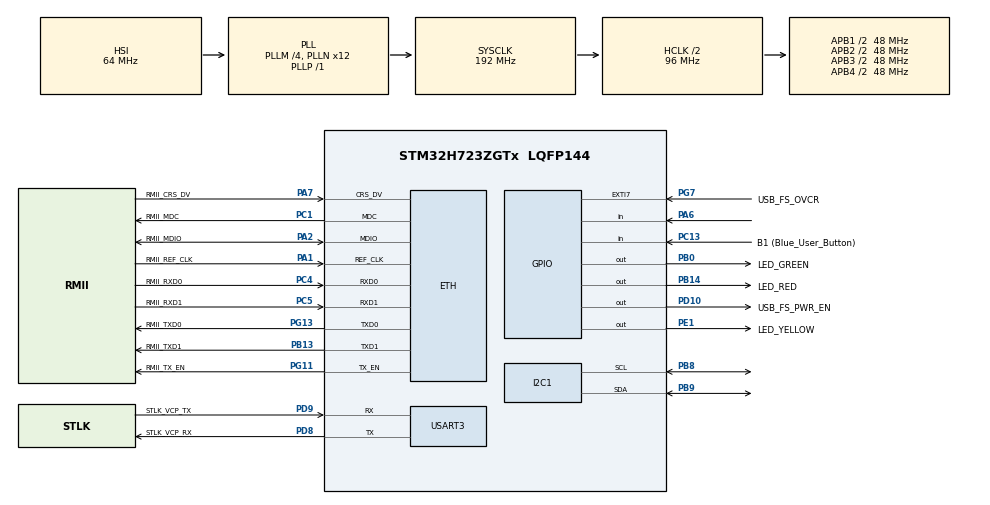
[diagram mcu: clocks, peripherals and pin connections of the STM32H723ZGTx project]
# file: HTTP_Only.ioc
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ETH.MediaInterface=HAL_ETH_RMII_MODE
I2C1.Timing=0x20303E5D
Mcu.Family=STM32H7
Mcu.Name=STM32H723ZGTx
Mcu.Package=LQFP144
NVIC.ETH_IRQn=true\:0\:0\:false\:false\:false\:true\:false\:true
NVIC.PriorityGroup=NVIC_PRIORITYGROUP_4
PA1.GPIO_Label=RMII_REF_CLK
PA1.Mode=RMII
PA1.Signal=ETH_REF_CLK
PA10.GPIO_Label=USB_FS_ID
PA10.Signal=USB_OTG_HS_ID
PA13(JTMS/SWDIO).GPIO_Label=SWDIO
PA13(JTMS/SWDIO).Signal=DEBUG_JTMS-SWDIO
PA14(JTCK/SWCLK).GPIO_Label=SWCLK
PA14(JTCK/SWCLK).Signal=DEBUG_JTCK-SWCLK
PA2.GPIO_Label=RMII_MDIO
PA2.Mode=RMII
PA2.Signal=ETH_MDIO
PA6.Signal=GPIO_Input
PA7.GPIO_Label=RMII_CRS_DV
PA7.Mode=RMII
PA7.Signal=ETH_CRS_DV
PA9.GPIO_Label=USB_FS_VBUS
PA9.Signal=USB_OTG_HS_VBUS
PB0.GPIO_Label=LED_GREEN
PB0.Signal=GPIO_Output
PB13.GPIO_Label=RMII_TXD1
PB13.Mode=RMII
PB13.Signal=ETH_TXD1
PB14.GPIO_Label=LED_RED
PB14.Signal=GPIO_Output
PB3(JTDO/TRACESWO).GPIO_Label=SWO
PB3(JTDO/TRACESWO).Signal=DEBUG_JTDO-SWO
PB8.Mode=I2C
PB8.Signal=I2C1_SCL
PB9.Mode=I2C
PB9.Signal=I2C1_SDA
PC1.GPIO_Label=RMII_MDC
PC1.Mode=RMII
PC1.Signal=ETH_MDC
PC13.GPIO_Label=B1 (Blue_User_Button)
PC13.Signal=GPIO_Input
PC14-OSC32_IN.Signal=RCC_OSC32_IN
PC15-OSC32_OUT.Signal=RCC_OSC32_OUT
PC4.GPIO_Label=RMII_RXD0
PC4.Mode=RMII
PC4.Signal=ETH_RXD0
PC5.GPIO_Label=RMII_RXD1
PC5.Mode=RMII
PC5.Signal=ETH_RXD1
PD10.GPIO_Label=USB_FS_PWR_EN
PD10.Signal=GPIO_Output
PD8.GPIO_Label=STLK_VCP_RX
PD8.Mode=Asynchronous
PD8.Signal=USART3_TX
PD9.GPIO_Label=STLK_VCP_TX
PD9.Mode=Asynchronous
PD9.Signal=USART3_RX
PE1.GPIO_Label=LED_YELLOW
PE1.Signal=GPIO_Output
PG11.GPIO_Label=RMII_TX_EN
PG11.Mode=RMII
PG11.Signal=ETH_TX_EN
PG13.GPIO_Label=RMII_TXD0
PG13.Mode=RMII
PG13.Signal=ETH_TXD0
PG7.GPIO_Label=USB_FS_OVCR
PG7.Signal=GPXTI7
PH0-OSC_IN.GPIO_Label=MCO
PH0-OSC_IN.Signal=RCC_OSC_IN
PH1-OSC_OUT.Signal=RCC_OSC_OUT
ProjectManager.HeapSize=0x200
ProjectManager.StackSize=0x400
ProjectManager.TargetToolchain=STM32CubeIDE
RCC.ADCFreq_Value=608000000
RCC.APB1Freq_Value=48000000
RCC.APB2Freq_Value=48000000
RCC.APB3Freq_Value=48000000
RCC.APB4Freq_Value=48000000
RCC.CortexFreq_Value=192000000
RCC.D1PPRE=RCC_APB3_DIV2
RCC.D2PPRE1=RCC_APB1_DIV2
RCC.D2PPRE2=RCC_APB2_DIV2
RCC.D3PPRE=RCC_APB4_DIV2
RCC.DIVM1=4
RCC.DIVM2=1
RCC.DIVN1=12
RCC.DIVN2=19
RCC.DIVP1=1
RCC.DIVQ1=4
RCC.HCLKFreq_Value=96000000
RCC.HPRE=RCC_HCLK_DIV2
RCC.HSE_VALUE=8000000
RCC.PLLFRACN=0
RCC.SYSCLKFreq_VALUE=192000000
RCC.SYSCLKSource=RCC_SYSCLKSOURCE_PLLCLK
RCC.USBCLockSelection=RCC_USBCLKSOURCE_HSI48
RCC.USBFreq_Value=48000000
USART3.VirtualMode-Asynchronous=VM_ASYNC
VP_MEMORYMAP_VS_MEMORYMAP.Mode=CurAppReg
VP_RNG_VS_RNG.Mode=RNG_Activate
board=NUCLEO-H723ZG

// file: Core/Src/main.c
/* USER CODE BEGIN Header */
/**
  ******************************************************************************
  * @file           : main.c
  * @brief          : Main program body
  ******************************************************************************
  * @attention
  *
  * Copyright (c) 2024 STMicroelectronics.
  * All rights reserved.
  *
  * This software is licensed under terms that can be found in the LICENSE file
  * in the root directory of this software component.
  * If no LICENSE file comes with this software, it is provided AS-IS.
  *
  ******************************************************************************
  */
/* USER CODE END Header */
#include "main.h"
#include "string.h"

/* USER CODE BEGIN Includes */
#include "mongoose_glue.h"
#include "mongoose.h"
#include "frozen.h"
#include "jsmn.h"
#include <stdlib.h>
#include <stdio.h>
/* USER CODE END Includes */

/* USER CODE BEGIN PTD */

typedef struct {
    uint16_t status_bits[4];     // UINT[0], UINT[1], UINT[2], UINT[3] - 64 bits
    uint16_t data_words[106];
} PLC_Snapshot;

/* USER CODE END PTD */

/* USER CODE BEGIN PD */
#define API_URL "http://192.168.1.133:8080/api/stats?start=-1h&stop=now()"
#define MAX_RESPONSE_SIZE 100000
#define MAX_EXTRACTED_NUMBERS 256
#define MAX_PAYLOAD_SIZE 512
#define MAX_NDEF_SIZE 8000
#define MAX_NUMBERS 56
#define MAX_VALUES 1024
#define OUTPUT_BUF_SIZE 6000

typedef struct {
  char start_time[32];
  int interval_sec;
  float values[MAX_VALUES];
  int count;
} ParsedData;

typedef struct {
  char *buffer;         // Will point to g_json_response_buffer
  size_t buffer_size;   // Will be MAX_JSON_SIZE
  size_t current_len;   // How much data we've copied so far
  bool transfer_complete; // Flag to signal the main loop
  bool error_occurred;    // Flag for errors
} http_transfer_state_t;

/* USER CODE END PD */

#if defined ( __ICCARM__ ) /*!< IAR Compiler */
#pragma location=0x30000000
ETH_DMADescTypeDef  DMARxDscrTab[ETH_RX_DESC_CNT]; /* Ethernet Rx DMA Descriptors */
#pragma location=0x30000080
ETH_DMADescTypeDef  DMATxDscrTab[ETH_TX_DESC_CNT]; /* Ethernet Tx DMA Descriptors */

#elif defined ( __CC_ARM )  /* MDK ARM Compiler */

__attribute__((at(0x30000000))) ETH_DMADescTypeDef  DMARxDscrTab[ETH_RX_DESC_CNT]; /* Ethernet Rx DMA Descriptors */
__attribute__((at(0x30000080))) ETH_DMADescTypeDef  DMATxDscrTab[ETH_TX_DESC_CNT]; /* Ethernet Tx DMA Descriptors */

#elif defined ( __GNUC__ ) /* GNU Compiler */

ETH_DMADescTypeDef DMARxDscrTab[ETH_RX_DESC_CNT] __attribute__((section(".RxDescripSection"))); /* Ethernet Rx DMA Descriptors */
ETH_DMADescTypeDef DMATxDscrTab[ETH_TX_DESC_CNT] __attribute__((section(".TxDescripSection")));   /* Ethernet Tx DMA Descriptors */
#endif

ETH_TxPacketConfig TxConfig;

ETH_HandleTypeDef heth;

I2C_HandleTypeDef hi2c1;

RNG_HandleTypeDef hrng;

UART_HandleTypeDef huart3;

/* USER CODE BEGIN PV */
static char response_buf[MAX_RESPONSE_SIZE];
static size_t response_len = 0;
static bool request_done = false;
float extracted_numbers[MAX_EXTRACTED_NUMBERS];
int number_count = 0;

#define numbercount 0

/* USER CODE END PV */

void SystemClock_Config(void);
static void MX_GPIO_Init(void);
static void MX_ETH_Init(void);
static void MX_RNG_Init(void);
static void MX_USART3_UART_Init(void);
static void MX_I2C1_Init(void);

/* USER CODE BEGIN 0 */
bool mg_random(void *buf, size_t len) {  // Use on-board RNG
  for (size_t n = 0; n < len; n += sizeof(uint32_t)) {
    uint32_t r;
    HAL_RNG_GenerateRandomNumber(&hrng, &r);
    memcpy((char *) buf + n, &r, n + sizeof(r) > len ? len - n : sizeof(r));
  }
  return true; // TODO(): ensure successful RNG init, then return on false above
}

uint64_t mg_millis(void) {
  return HAL_GetTick();
}

int _write(int fd, unsigned char *buf, int len) {
  if (fd == 1 || fd == 2) {                     // stdout or stderr ?
    HAL_UART_Transmit(&huart3, buf, len, 999);  // Print to the UART
  }
  return len;
}

static void http_event_handler(struct mg_connection *c, int ev, void *ev_data, void *fn_data) {
  if (ev == MG_EV_HTTP_MSG) {
    struct mg_http_message *hm = (struct mg_http_message *) ev_data;

    // Fix: use pointer for header
    const struct mg_str *cl_hdr = mg_http_get_header(hm, "Content-Length");
    size_t expected_len = 0;
    if (cl_hdr != NULL && cl_hdr->len > 0) {
      expected_len = (size_t) atoi(cl_hdr->buf);
    }

    printf("Received body length: %d\r\n", (int) hm->body.len);
    if (expected_len > 0 && hm->body.len < expected_len) {
      // Incomplete body, wait for more
      return;
    }

    size_t copy_len = hm->body.len < MAX_RESPONSE_SIZE - 1 ? hm->body.len : MAX_RESPONSE_SIZE - 1;
    memcpy(response_buf, hm->body.buf, copy_len);
    response_buf[copy_len] = '\0';
    response_len = copy_len;

    printf("HTTP Response: %.*s\r\n", (int) response_len, response_buf);

    request_done = true;
  }
  else if (ev == MG_EV_CLOSE && !request_done) {
    printf("HTTP request failed or connection closed early\r\n");
  }
}

void perform_http_data_read(void) {
  request_done = false;

  struct mg_connection *c = mg_http_connect(&g_mgr, API_URL, http_event_handler, NULL);
  if (c == NULL) {
    printf("HTTP connect failed\r\n");
    return;
  }

  mg_printf(c, "GET %s HTTP/1.0\r\nHost: 192.168.1.133\r\n\r\n", "/api/stats?start=-1h&stop=now()");

  uint32_t start = HAL_GetTick();
  while (!request_done && HAL_GetTick() - start < 7000) {
    mg_mgr_poll(&g_mgr, 10);  // Poll with more responsiveness
    HAL_Delay(1);
  }

  if (!request_done) {
    printf("Request timed out or incomplete\r\n");
  }
}

void wait_for_network_ready(void) {
  uint32_t start = HAL_GetTick();
  while (HAL_GetTick() - start < 2000) {
    mongoose_poll();
    HAL_Delay(1);
  }

  // Force ARP resolution with a dummy connection
  struct mg_connection *warmup = mg_connect(&g_mgr, "tcp://192.168.1.133:80", NULL, NULL);
  if (warmup != NULL) {
    mg_mgr_poll(&g_mgr, 100);
    warmup->is_closing = 1;
  }
}

double mg_str_to_d(struct mg_str s) {
    char buf[64];
    size_t n = s.len < sizeof(buf) - 1 ? s.len : sizeof(buf) - 1;
    memcpy(buf, s.buf, n);
    buf[n] = '\0';
    return atof(buf);  // Or strtod(buf, NULL) for more control
}

void write_json_to_nfc(const char *json_data, size_t json_len) {
    uint16_t i2c_addr = 0x53 << 1;   // ST25DV I2C address
    uint16_t mem_addr = 0x0008;      // NDEF start offset
    HAL_StatusTypeDef status;

    if (json_len > 8000) {
        printf("Error: JSON too large for NFC memory (%lu bytes)\n", (unsigned long)json_len);
        return;
    }

    const char* mime_type = "application/json";
    uint8_t type_length = strlen(mime_type);
    uint8_t ndef_header_size = 1 + 1 + 4;

    uint32_t payload_length = json_len;
    uint32_t ndef_record_length = ndef_header_size + type_length + payload_length;

    uint8_t ndef_buffer[MAX_NDEF_SIZE];
    uint16_t total_ndef_message_size = 0;

    // TLV block
    ndef_buffer[total_ndef_message_size++] = 0x03;  // TLV type
    if (ndef_record_length < 0xFF) {
        ndef_buffer[total_ndef_message_size++] = (uint8_t)ndef_record_length;
    } else {
        ndef_buffer[total_ndef_message_size++] = 0xFF;
        ndef_buffer[total_ndef_message_size++] = (ndef_record_length >> 8) & 0xFF;
        ndef_buffer[total_ndef_message_size++] = ndef_record_length & 0xFF;
    }

    // NDEF Record header
    ndef_buffer[total_ndef_message_size++] = 0xC2;  // MIME type record
    ndef_buffer[total_ndef_message_size++] = type_length;
    ndef_buffer[total_ndef_message_size++] = (payload_length >> 24) & 0xFF;
    ndef_buffer[total_ndef_message_size++] = (payload_length >> 16) & 0xFF;
    ndef_buffer[total_ndef_message_size++] = (payload_length >> 8) & 0xFF;
    ndef_buffer[total_ndef_message_size++] = payload_length & 0xFF;

    memcpy(&ndef_buffer[total_ndef_message_size], mime_type, type_length);
    total_ndef_message_size += type_length;

    memcpy(&ndef_buffer[total_ndef_message_size], json_data, payload_length);
    total_ndef_message_size += payload_length;

    ndef_buffer[total_ndef_message_size++] = 0xFE;  // Terminator TLV

    printf("JSON length: %lu\n", (unsigned long)json_len);
    printf("Total NDEF size: %u bytes\n", total_ndef_message_size);

    // I2C chunked write to NFC
    const uint16_t MAX_CHUNK_SIZE = 64;
    uint16_t bytes_remaining = total_ndef_message_size;
    uint16_t offset = 0;

    while (bytes_remaining > 0) {
        uint16_t chunk_size = (bytes_remaining > MAX_CHUNK_SIZE) ? MAX_CHUNK_SIZE : bytes_remaining;

        status = HAL_I2C_Mem_Write(&hi2c1, i2c_addr, mem_addr + offset,
                                   I2C_MEMADD_SIZE_16BIT,
                                   &ndef_buffer[offset], chunk_size,
                                   HAL_MAX_DELAY);

        if (status != HAL_OK) {
            printf("I2C chunk write failed at offset %d, status: %d\r\n", offset, status);
            return;
        }

        HAL_Delay(100);  // Wait for memory to settle
        offset += chunk_size;
        bytes_remaining -= chunk_size;
    }

    printf("I2C chunked write successful.\r\n");
}

bool parse_float_request_fields(const char *json_data, size_t len,
                                struct mg_str *out_field,
                                struct mg_str *out_start,
                                struct mg_str *out_stop) {
    struct mg_str json = mg_str_n(json_data, len);
    struct mg_str key, val;
    size_t offset = 0;

    *out_field = mg_str_n(NULL, 0);
    *out_start = mg_str_n(NULL, 0);
    *out_stop  = mg_str_n(NULL, 0);

    printf("🧪 Parsing JSON: %.*s\r\n", (int) json.len, json.buf);
    // Check if JSON is double-encoded (starts with quote)
    if (json_data[0] == '"' && json_data[len - 1] == '"') {
        printf("⚠️  JSON appears to be string-encoded, unescaping...\r\n");

        static char unescaped[1024];
        size_t j = 0;

        for (size_t i = 1; i < len - 1 && j < sizeof(unescaped) - 1; i++) {
            if (json_data[i] == '\\' && i + 1 < len - 1) {
                i++;  // Skip backslash
            }
            unescaped[j++] = json_data[i];
        }

        unescaped[j] = '\0';
        json_data = unescaped;
        len = strlen(unescaped);

        printf("🔓 Unescaped JSON: %s\n\r", json_data);
    }

    while ((offset = mg_json_next(json, offset, &key, &val)) > 0) {
    	printf("🔍 Found Key: %.*s | Value: %.*s\n", (int)key.len, key.buf, (int)val.len, val.buf);

    	if (mg_match(key, mg_str("\"field\""), NULL)) {
    	    *out_field = val;
    	    printf("✅ Matched 'field': %.*s\r\n", (int) val.len, val.buf);
    	} else if (mg_match(key, mg_str("\"start\""), NULL)) {
    	    *out_start = val;
    	    printf("✅ Matched 'start': %.*s\r\n", (int) val.len, val.buf);
    	} else if (mg_match(key, mg_str("\"stop\""), NULL)) {
    	    *out_stop = val;
    	    printf("✅ Matched 'stop': %.*s\r\n", (int) val.len, val.buf);
    	} else {
    	    // This will now correctly show "cmd" as the non-match
    	    printf("❌ No match for key: %.*s\r\n", (int) key.len, key.buf);
    	}
    }

    // Final report
    printf("📦 Parsed values:\r\n");
    printf("   field: %.*s\r\n", (int) out_field->len, out_field->buf);
    printf("   start: %.*s\r\n", (int) out_start->len, out_start->buf);
    printf("   stop : %.*s\r\n", (int) out_stop->len, out_stop->buf);

    if (out_field->len > 0 && out_start->len > 0 && out_stop->len > 0) {
        printf("✅ All required fields extracted.\r\n");
        return true;
    } else {
        printf("❌ Missing one or more required fields.\r\n");
        return false;
    }
}

void copy_and_strip_quotes(struct mg_str src, char *dest, size_t dest_size) {
    size_t j = 0;
    for (size_t i = 0; i < src.len && j < dest_size - 1; i++) {
        if (src.buf[i] != '"') {
            dest[j++] = src.buf[i];
        }
    }
    dest[j] = '\0';
}

void read_phone_request_json(void) {
    uint16_t i2c_addr = 0x53 << 1;
    uint16_t mem_addr = 0x0008;
    uint8_t buf[256];

    // Read first 256 bytes of EEPROM
    if (HAL_I2C_Mem_Read(&hi2c1, i2c_addr, mem_addr, I2C_MEMADD_SIZE_16BIT, buf, sizeof(buf), HAL_MAX_DELAY) != HAL_OK) {
        printf("I2C read failed\n");
        return;
    }

    uint16_t i = 0;

    if (buf[i++] != 0x03) {
        printf("Not an NDEF TLV.\n");
        return;
    }

    uint8_t tlv_length = buf[i++];  // assuming < 255 bytes

    // NDEF record header
    if (buf[i++] != 0xD1) {
        printf("Not a text record from phone.\n");
        return;
    }

    uint8_t type_len = buf[i++];
    uint8_t payload_len = buf[i++];

    // skip type string ("T")
    i += type_len;

    // first byte of payload is encoding/language code (usually 0x02)
    i++;

    // JSON string starts here
    char json[240];
    memcpy(json, &buf[i], payload_len - 1);
    json[payload_len - 1] = '\0';

    printf("📥 Received JSON from phone: %s\n", json);

    char *json_data = strchr(json, '{');  // Find the first '{' character
    if (!json_data) {
        printf("❌ No JSON object found in payload\n");
        return;
    }

    // Step 2: Declare output variables
    struct mg_str field, start, stop;

    printf("Raw JSON: %s\n", json_data);

    // Step 3: Parse for cmd/field/start/stop
    if (parse_float_request_fields(json_data, strlen(json_data), &field, &start, &stop)) {
        // Step 4: Use them to build the HTTP URL
        char url[256];
        snprintf(url, sizeof(url),
                 "http://192.168.1.133:8080/api/float-range?field=%.*s&start=%.*s&stop=%.*s",
                 (int) field.len, field.buf,
                 (int) start.len, start.buf,
                 (int) stop.len,  stop.buf);

        printf("🌐 Generated HTTP URL:\n%s\n", url);

        char field_buf[128], start_buf[64], stop_buf[64];

        copy_and_strip_quotes(field, field_buf, sizeof(field_buf));
        copy_and_strip_quotes(start, start_buf, sizeof(start_buf));
        copy_and_strip_quotes(stop,  stop_buf,  sizeof(stop_buf));

        printf("✅ Clean URL:\n");
        printf("http://192.168.1.133:8080/api/float-range?field=%s&start=%s&stop=%s\n",
               field_buf, start_buf, stop_buf);

        char full_path[256];
        snprintf(full_path, sizeof(full_path),
                 "/api/float-range?field=%s&start=%s&stop=%s",
                 field_buf, start_buf, stop_buf);

        // Optional debug print
        printf("✅ Clean path: %s\n", full_path);
        wait_for_network_ready();
        perform_http_get(full_path);
    	HAL_Delay(1000);

        // Optionally perform the HTTP request here...
        // perform_http_get(url);
    } else {
        printf("❌ Failed to extract field/start/stop from JSON\n");
    }
}

void perform_http_get(const char *path) {
  request_done = false;

  printf("🌐 Starting HTTP GET for path: %s\r\n", path);

  // Connect to server
  struct mg_connection *c = mg_http_connect(&g_mgr, "http://192.168.1.133:8080", http_event_handler, NULL);
  if (c == NULL) {
    printf("❌ HTTP connect failed\r\n");
    return;
  }

  // Send custom GET request
  mg_printf(c,
    "GET %s HTTP/1.1\r\n"
    "Host: 192.168.1.133\r\n"
    "Connection: keep-alive\r\n\r\n",
    path);

  // Poll until request completes or times out
  uint32_t start = HAL_GetTick();
  while (!request_done && HAL_GetTick() - start < 5000) {
    mg_mgr_poll(&g_mgr, 1);
    HAL_Delay(1);
  }

  if (!request_done) {
    printf("❌ HTTP request timed out\r\n");
    return;
  }
  ParsedData parsed;
  char compact_json[OUTPUT_BUF_SIZE];

  if (parse_response_json(response_buf, &parsed)) {
    make_compact_json(&parsed, compact_json, sizeof(compact_json));
    printf("Compact JSON:\n%s\r\n", compact_json);
  } else {
    printf("Failed to parse JSON!\r\n");
  }

  // ✅ HTTP response is now in `response_buf`, call your NFC writer
  write_json_to_nfc(compact_json, strlen(compact_json));
}

int parse_response_json(const char *json, ParsedData *out) {
  const char *ptr = json;
  int i = 0;
  char prev_time_str[32] = {0};
  int found_first = 0;
  out->interval_sec = 0;
  out->count = 0;
  float last_value = 0.0;
  time_t expected_time = 0;

  while ((ptr = strstr(ptr, "{\"time\":\"")) && i < MAX_VALUES) {
    ptr += 9;  // Move past "{\"time\":\""
    const char *time_end = strchr(ptr, '"');
    if (!time_end) break;

    int len = time_end - ptr;
    if (len >= sizeof(out->start_time)) len = sizeof(out->start_time) - 1;

    char current_time_str[32];
    strncpy(current_time_str, ptr, len);
    current_time_str[len] = '\0';

    // Parse timestamp into struct tm
    char trimmed[32];
    strncpy(trimmed, current_time_str, sizeof(trimmed));
    size_t len_trimmed = strlen(trimmed);
    if (trimmed[len_trimmed - 1] == 'Z') trimmed[len_trimmed - 1] = '\0';

    struct tm tm = {0};
    strptime(trimmed, "%Y-%m-%dT%H:%M:%S", &tm);
    time_t current_time = mktime(&tm);

    // Get value
    const char *val_ptr = strstr(time_end, "\"value\":");
    if (!val_ptr) break;
    float v = atof(val_ptr + 8);

    if (!found_first) {
      strcpy(out->start_time, current_time_str);
      expected_time = current_time;
      found_first = 1;
      last_value = v;
      out->values[i++] = v;
    } else {
      if (out->interval_sec == 0) {
        // Compute interval from previous and current timestamps
        char prev_trimmed[32];
        strncpy(prev_trimmed, prev_time_str, sizeof(prev_trimmed));
        size_t len_prev = strlen(prev_trimmed);
        if (prev_trimmed[len_prev - 1] == 'Z') prev_trimmed[len_prev - 1] = '\0';

        struct tm tm_prev = {0};
        strptime(prev_trimmed, "%Y-%m-%dT%H:%M:%S", &tm_prev);
        time_t prev_time = mktime(&tm_prev);
        out->interval_sec = (int)difftime(current_time, prev_time);
        expected_time = prev_time + out->interval_sec;
      }

      // Fill in missing values using last_value
      while (expected_time < current_time && i < MAX_VALUES) {
        out->values[i++] = last_value;
        expected_time += out->interval_sec;
      }

      // Insert current value
      out->values[i++] = v;
      last_value = v;
      expected_time += out->interval_sec;
    }

    strcpy(prev_time_str, current_time_str);
  }

  out->count = i;
  return (i > 0) ? 1 : 0;
}

// Creates compact JSON output
void make_compact_json(const ParsedData *data, char *out_buf, size_t out_buf_size) {
  int offset = snprintf(out_buf, out_buf_size,
    "{\n  \"start\": \"%s\",\n  \"interval\": %d,\n  \"values\": [",
    data->start_time, data->interval_sec);

  for (int i = 0; i < data->count; i++) {
    offset += snprintf(out_buf + offset, out_buf_size - offset,
      (i < data->count - 1) ? "%.2f," : "%.2f", data->values[i]);
  }

  snprintf(out_buf + offset, out_buf_size - offset, "]\n}\n");
  printf("Number of values: %d\n", data->count);
}

/* USER CODE END 0 */

int main(void)
{

  /* MCU Configuration--------------------------------------------------------*/

  /* Reset of all peripherals, Initializes the Flash interface and the Systick. */
  HAL_Init();

  /* Configure the system clock */
  SystemClock_Config();

  /* Initialize all configured peripherals */
  MX_GPIO_Init();
  MX_ETH_Init();
  MX_RNG_Init();
  MX_USART3_UART_Init();
  MX_I2C1_Init();
  /* USER CODE BEGIN 2 */
  mongoose_init();
  for (;;) {
    mongoose_poll();

    if(!HAL_GPIO_ReadPin(GPIOA, GPIO_PIN_6)){
    	HAL_GPIO_WritePin(GPIOB, GPIO_PIN_0, GPIO_PIN_SET);
    	HAL_Delay(5000);
    	read_phone_request_json();
    } else{
    	HAL_GPIO_WritePin(GPIOB, GPIO_PIN_0, GPIO_PIN_RESET);
    }

    if(HAL_GPIO_ReadPin(GPIOC, GPIO_PIN_13)){
    	HAL_GPIO_WritePin(GPIOB, GPIO_PIN_14, GPIO_PIN_SET);
    	HAL_Delay(500);
    	glue_update_state();
        wait_for_network_ready();
    	perform_http_data_read();
    	HAL_Delay(1000);
    	write_json_to_nfc(response_buf, response_len);
    } else{
    	HAL_GPIO_WritePin(GPIOB, GPIO_PIN_14, GPIO_PIN_RESET);
    }
  }

  /* USER CODE END 2 */

  /* Infinite loop */
  while (1)
  {

  }
}

void SystemClock_Config(void)
{
  RCC_OscInitTypeDef RCC_OscInitStruct = {0};
  RCC_ClkInitTypeDef RCC_ClkInitStruct = {0};

  /** Supply configuration update enable
  */
  HAL_PWREx_ConfigSupply(PWR_LDO_SUPPLY);

  /** Configure the main internal regulator output voltage
  */
  __HAL_PWR_VOLTAGESCALING_CONFIG(PWR_REGULATOR_VOLTAGE_SCALE2);

  while(!__HAL_PWR_GET_FLAG(PWR_FLAG_VOSRDY)) {}

  /** Initializes the RCC Oscillators according to the specified parameters
  * in the RCC_OscInitTypeDef structure.
  */
  RCC_OscInitStruct.OscillatorType = RCC_OSCILLATORTYPE_HSI48|RCC_OSCILLATORTYPE_HSI;
  RCC_OscInitStruct.HSIState = RCC_HSI_DIV1;
  RCC_OscInitStruct.HSICalibrationValue = 64;
  RCC_OscInitStruct.HSI48State = RCC_HSI48_ON;
  RCC_OscInitStruct.PLL.PLLState = RCC_PLL_ON;
  RCC_OscInitStruct.PLL.PLLSource = RCC_PLLSOURCE_HSI;
  RCC_OscInitStruct.PLL.PLLM = 4;
  RCC_OscInitStruct.PLL.PLLN = 12;
  RCC_OscInitStruct.PLL.PLLP = 1;
  RCC_OscInitStruct.PLL.PLLQ = 4;
  RCC_OscInitStruct.PLL.PLLR = 2;
  RCC_OscInitStruct.PLL.PLLRGE = RCC_PLL1VCIRANGE_3;
  RCC_OscInitStruct.PLL.PLLVCOSEL = RCC_PLL1VCOWIDE;
  RCC_OscInitStruct.PLL.PLLFRACN = 0;
  if (HAL_RCC_OscConfig(&RCC_OscInitStruct) != HAL_OK)
  {
    Error_Handler();
  }

  /** Initializes the CPU, AHB and APB buses clocks
  */
  RCC_ClkInitStruct.ClockType = RCC_CLOCKTYPE_HCLK|RCC_CLOCKTYPE_SYSCLK
                              |RCC_CLOCKTYPE_PCLK1|RCC_CLOCKTYPE_PCLK2
                              |RCC_CLOCKTYPE_D3PCLK1|RCC_CLOCKTYPE_D1PCLK1;
  RCC_ClkInitStruct.SYSCLKSource = RCC_SYSCLKSOURCE_PLLCLK;
  RCC_ClkInitStruct.SYSCLKDivider = RCC_SYSCLK_DIV1;
  RCC_ClkInitStruct.AHBCLKDivider = RCC_HCLK_DIV2;
  RCC_ClkInitStruct.APB3CLKDivider = RCC_APB3_DIV2;
  RCC_ClkInitStruct.APB1CLKDivider = RCC_APB1_DIV2;
  RCC_ClkInitStruct.APB2CLKDivider = RCC_APB2_DIV2;
  RCC_ClkInitStruct.APB4CLKDivider = RCC_APB4_DIV2;

  if (HAL_RCC_ClockConfig(&RCC_ClkInitStruct, FLASH_LATENCY_1) != HAL_OK)
  {
    Error_Handler();
  }
}

static void MX_ETH_Init(void)
{

   static uint8_t MACAddr[6];

  heth.Instance = ETH;
  MACAddr[0] = 0x00;
  MACAddr[1] = 0x80;
  MACAddr[2] = 0xE1;
  MACAddr[3] = 0x00;
  MACAddr[4] = 0x00;
  MACAddr[5] = 0x00;
  heth.Init.MACAddr = &MACAddr[0];
  heth.Init.MediaInterface = HAL_ETH_RMII_MODE;
  heth.Init.TxDesc = DMATxDscrTab;
  heth.Init.RxDesc = DMARxDscrTab;
  heth.Init.RxBuffLen = 1536;

  if (HAL_ETH_Init(&heth) != HAL_OK)
  {
    Error_Handler();
  }

  memset(&TxConfig, 0 , sizeof(ETH_TxPacketConfig));
  TxConfig.Attributes = ETH_TX_PACKETS_FEATURES_CSUM | ETH_TX_PACKETS_FEATURES_CRCPAD;
  TxConfig.ChecksumCtrl = ETH_CHECKSUM_IPHDR_PAYLOAD_INSERT_PHDR_CALC;
  TxConfig.CRCPadCtrl = ETH_CRC_PAD_INSERT;

}

static void MX_I2C1_Init(void)
{

  hi2c1.Instance = I2C1;
  hi2c1.Init.Timing = 0x20303E5D;
  hi2c1.Init.OwnAddress1 = 0;
  hi2c1.Init.AddressingMode = I2C_ADDRESSINGMODE_7BIT;
  hi2c1.Init.DualAddressMode = I2C_DUALADDRESS_DISABLE;
  hi2c1.Init.OwnAddress2 = 0;
  hi2c1.Init.OwnAddress2Masks = I2C_OA2_NOMASK;
  hi2c1.Init.GeneralCallMode = I2C_GENERALCALL_DISABLE;
  hi2c1.Init.NoStretchMode = I2C_NOSTRETCH_DISABLE;
  if (HAL_I2C_Init(&hi2c1) != HAL_OK)
  {
    Error_Handler();
  }

  /** Configure Analogue filter
  */
  if (HAL_I2CEx_ConfigAnalogFilter(&hi2c1, I2C_ANALOGFILTER_ENABLE) != HAL_OK)
  {
    Error_Handler();
  }

  /** Configure Digital filter
  */
  if (HAL_I2CEx_ConfigDigitalFilter(&hi2c1, 0) != HAL_OK)
  {
    Error_Handler();
  }

}

static void MX_RNG_Init(void)
{

  hrng.Instance = RNG;
  hrng.Init.ClockErrorDetection = RNG_CED_ENABLE;
  if (HAL_RNG_Init(&hrng) != HAL_OK)
  {
    Error_Handler();
  }

}

static void MX_USART3_UART_Init(void)
{

  huart3.Instance = USART3;
  huart3.Init.BaudRate = 115200;
  huart3.Init.WordLength = UART_WORDLENGTH_8B;
  huart3.Init.StopBits = UART_STOPBITS_1;
  huart3.Init.Parity = UART_PARITY_NONE;
  huart3.Init.Mode = UART_MODE_TX_RX;
  huart3.Init.HwFlowCtl = UART_HWCONTROL_NONE;
  huart3.Init.OverSampling = UART_OVERSAMPLING_16;
  huart3.Init.OneBitSampling = UART_ONE_BIT_SAMPLE_DISABLE;
  huart3.Init.ClockPrescaler = UART_PRESCALER_DIV1;
  huart3.AdvancedInit.AdvFeatureInit = UART_ADVFEATURE_NO_INIT;
  if (HAL_UART_Init(&huart3) != HAL_OK)
  {
    Error_Handler();
  }
  if (HAL_UARTEx_SetTxFifoThreshold(&huart3, UART_TXFIFO_THRESHOLD_1_8) != HAL_OK)
  {
    Error_Handler();
  }
  if (HAL_UARTEx_SetRxFifoThreshold(&huart3, UART_RXFIFO_THRESHOLD_1_8) != HAL_OK)
  {
    Error_Handler();
  }
  if (HAL_UARTEx_DisableFifoMode(&huart3) != HAL_OK)
  {
    Error_Handler();
  }

}

static void MX_GPIO_Init(void)
{
  GPIO_InitTypeDef GPIO_InitStruct = {0};

  /* GPIO Ports Clock Enable */
  __HAL_RCC_GPIOC_CLK_ENABLE();
  __HAL_RCC_GPIOH_CLK_ENABLE();
  __HAL_RCC_GPIOA_CLK_ENABLE();
  __HAL_RCC_GPIOB_CLK_ENABLE();
  __HAL_RCC_GPIOD_CLK_ENABLE();
  __HAL_RCC_GPIOG_CLK_ENABLE();
  __HAL_RCC_GPIOE_CLK_ENABLE();

  /*Configure GPIO pin Output Level */
  HAL_GPIO_WritePin(GPIOB, LED_GREEN_Pin|LED_RED_Pin, GPIO_PIN_RESET);

  /*Configure GPIO pin Output Level */
  HAL_GPIO_WritePin(USB_FS_PWR_EN_GPIO_Port, USB_FS_PWR_EN_Pin, GPIO_PIN_RESET);

  /*Configure GPIO pin Output Level */
  HAL_GPIO_WritePin(LED_YELLOW_GPIO_Port, LED_YELLOW_Pin, GPIO_PIN_RESET);

  /*Configure GPIO pin : B1_Pin */
  GPIO_InitStruct.Pin = B1_Pin;
  GPIO_InitStruct.Mode = GPIO_MODE_INPUT;
  GPIO_InitStruct.Pull = GPIO_NOPULL;
  HAL_GPIO_Init(B1_GPIO_Port, &GPIO_InitStruct);

  /*Configure GPIO pin : PA6 */
  GPIO_InitStruct.Pin = GPIO_PIN_6;
  GPIO_InitStruct.Mode = GPIO_MODE_INPUT;
  GPIO_InitStruct.Pull = GPIO_NOPULL;
  HAL_GPIO_Init(GPIOA, &GPIO_InitStruct);

  /*Configure GPIO pins : LED_GREEN_Pin LED_RED_Pin */
  GPIO_InitStruct.Pin = LED_GREEN_Pin|LED_RED_Pin;
  GPIO_InitStruct.Mode = GPIO_MODE_OUTPUT_PP;
  GPIO_InitStruct.Pull = GPIO_NOPULL;
  GPIO_InitStruct.Speed = GPIO_SPEED_FREQ_LOW;
  HAL_GPIO_Init(GPIOB, &GPIO_InitStruct);

  /*Configure GPIO pin : USB_FS_PWR_EN_Pin */
  GPIO_InitStruct.Pin = USB_FS_PWR_EN_Pin;
  GPIO_InitStruct.Mode = GPIO_MODE_OUTPUT_PP;
  GPIO_InitStruct.Pull = GPIO_NOPULL;
  GPIO_InitStruct.Speed = GPIO_SPEED_FREQ_LOW;
  HAL_GPIO_Init(USB_FS_PWR_EN_GPIO_Port, &GPIO_InitStruct);

  /*Configure GPIO pin : USB_FS_OVCR_Pin */
  GPIO_InitStruct.Pin = USB_FS_OVCR_Pin;
  GPIO_InitStruct.Mode = GPIO_MODE_IT_RISING;
  GPIO_InitStruct.Pull = GPIO_NOPULL;
  HAL_GPIO_Init(USB_FS_OVCR_GPIO_Port, &GPIO_InitStruct);

  /*Configure GPIO pin : USB_FS_ID_Pin */
  GPIO_InitStruct.Pin = USB_FS_ID_Pin;
  GPIO_InitStruct.Mode = GPIO_MODE_AF_PP;
  GPIO_InitStruct.Pull = GPIO_NOPULL;
  GPIO_InitStruct.Speed = GPIO_SPEED_FREQ_LOW;
  GPIO_InitStruct.Alternate = GPIO_AF10_OTG1_HS;
  HAL_GPIO_Init(USB_FS_ID_GPIO_Port, &GPIO_InitStruct);

  /*Configure GPIO pin : LED_YELLOW_Pin */
  GPIO_InitStruct.Pin = LED_YELLOW_Pin;
  GPIO_InitStruct.Mode = GPIO_MODE_OUTPUT_PP;
  GPIO_InitStruct.Pull = GPIO_NOPULL;
  GPIO_InitStruct.Speed = GPIO_SPEED_FREQ_LOW;
  HAL_GPIO_Init(LED_YELLOW_GPIO_Port, &GPIO_InitStruct);

}

void Error_Handler(void)
{
  __disable_irq();
  while (1)
  {
  }
}
